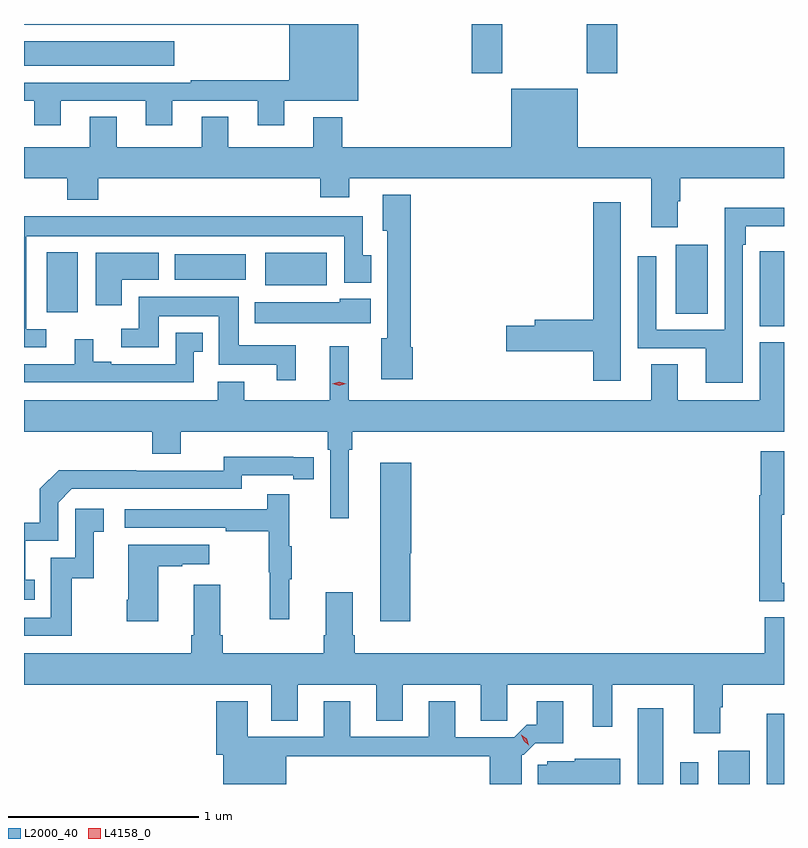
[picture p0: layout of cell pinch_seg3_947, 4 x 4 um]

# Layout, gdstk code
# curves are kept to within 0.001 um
import gdstk
lib = gdstk.Library(unit=1e-6, precision=1e-09)
def R(c, l, rs):  # rectangles x0, y0, x1, y1
    for r in rs: c.add(gdstk.rectangle(r[:2], r[2:], *l))
def P(c, l, *ps):  # polygons
    for p in ps: c.add(gdstk.Polygon(p, *l))
L2000_40 = (2000, 40)
L4158_0 = (4158, 0)

pinch_seg3_947 = lib.new_cell('pinch_seg3_947')
R(pinch_seg3_947, L2000_40, [(410.894,728.365,411.028,728.764), (411.117,728.365,411.213,728.479), (411.317,728.365,411.484,728.539), (411.573,728.365,411.664,728.734), (411.095,730.84,411.262,731.203), (407.783,730.848,407.947,731.164), (408.935,730.991,409.258,731.161), (408.458,731.018,408.832,731.152), (410.021,732.105,410.181,732.365), (410.626,732.105,410.786,732.365), (407.664,732.146,408.454,732.274)])
P(pinch_seg3_947, L2000_40, [(407.857,731.961),(408.305,731.961),(408.305,731.832),(408.445,731.832),(408.445,731.961),(408.893,731.961),(408.893,731.832),(409.033,731.832),(409.033,731.96),(409.423,731.96),(409.423,732.365),(407.664,732.365),(407.664,732.362),(409.061,732.362),(409.061,732.07),(408.541,732.07),(408.541,732.057),(407.664,732.057),(407.664,731.961),(407.717,731.961),(407.717,731.832),(407.857,731.832)],
  [(411.106,731.432),(411.119,731.432),(411.119,731.552),(411.664,731.552),(411.664,731.716),(410.578,731.716),(410.578,732.025),(410.228,732.025),(410.228,731.716),(409.34,731.716),(409.34,731.875),(409.187,731.875),(409.187,731.716),(408.739,731.716),(408.739,731.876),(408.599,731.876),(408.599,731.716),(408.151,731.716),(408.151,731.876),(408.011,731.876),(408.011,731.716),(407.664,731.716),(407.664,731.552),(407.891,731.552),(407.891,731.441),(408.056,731.441),(408.056,731.552),(409.223,731.552),(409.223,731.453),(409.375,731.453),(409.375,731.552),(410.966,731.552),(410.966,731.295),(411.106,731.295)],
  [(409.71,730.665),(409.7,730.665),(409.7,731.467),(409.553,731.467),(409.553,731.277),(409.577,731.277),(409.577,730.71),(409.544,730.71),(409.544,730.496),(409.71,730.496)],
  [(410.806,731.428),(410.66,731.428),(410.66,730.808),(410.351,730.808),(410.351,730.778),(410.202,730.778),(410.202,730.643),(410.66,730.643),(410.66,730.488),(410.806,730.488)],
  [(411.447,731.204),(411.463,731.204),(411.463,731.3),(411.664,731.3),(411.664,731.398),(411.351,731.398),(411.351,730.755),(410.991,730.755),(410.991,731.143),(410.895,731.143),(410.895,730.659),(411.251,730.659),(411.251,730.478),(411.447,730.478)],
  [(407.782,730.758),(407.677,730.758),(407.677,731.249),(409.35,731.249),(409.35,731.004),(409.492,731.004),(409.492,731.148),(409.447,731.148),(409.447,731.353),(407.664,731.353),(407.664,730.665),(407.782,730.665)],
  [(411.664,731.17),(411.537,731.17),(411.537,731.057),(411.536,731.057),(411.536,730.774),(411.664,730.774)],
  [(408.178,731.018),(408.373,731.018),(408.373,731.161),(408.041,731.161),(408.041,730.884),(408.178,730.884)],
  [(409.094,730.675),(408.793,730.675),(408.793,730.93),(408.269,730.93),(408.269,730.761),(408.177,730.761),(408.177,730.665),(408.373,730.665),(408.373,730.826),(408.689,730.826),(408.689,730.571),(408.995,730.571),(408.995,730.491),(409.094,730.491)],
  [(409.489,730.918),(409.326,730.918),(409.326,730.9),(408.878,730.9),(408.878,730.79),(409.489,730.79)],
  [(408.558,730.641),(408.604,730.641),(408.604,730.741),(408.462,730.741),(408.462,730.575),(408.124,730.575),(408.124,730.588),(408.028,730.588),(408.028,730.705),(407.93,730.705),(407.93,730.575),(407.664,730.575),(407.664,730.479),(408.558,730.479)],
  [(409.372,730.124),(409.391,730.124),(409.391,730.22),(411.664,730.22),(411.664,730.689),(411.536,730.689),(411.536,730.384),(411.106,730.384),(411.106,730.574),(410.966,730.574),(410.966,730.384),(409.372,730.384),(409.372,730.669),(409.274,730.669),(409.274,730.384),(408.823,730.384),(408.823,730.483),(408.683,730.483),(408.683,730.384),(407.664,730.384),(407.664,730.22),(408.338,730.22),(408.338,730.103),(408.49,730.103),(408.49,730.22),(409.262,730.22),(409.262,730.124),(409.275,730.124),(409.275,729.765),(409.372,729.765)],
  [(411.664,729.423),(411.651,729.423),(411.651,729.782),(411.664,729.782),(411.664,730.117),(411.542,730.117),(411.542,729.886),(411.535,729.886),(411.535,729.327),(411.664,729.327)],
  [(407.72,729.441),(407.671,729.441),(407.671,729.645),(407.844,729.645),(407.844,729.846),(407.916,729.918),(408.81,729.918),(408.81,729.99),(409.082,729.99),(409.082,729.97),(409.19,729.97),(409.19,730.086),(408.714,730.087),(408.714,730.014),(408.254,730.014),(408.254,730.016),(407.846,730.016),(407.748,729.918),(407.748,729.741),(407.664,729.741),(407.664,729.336),(407.72,729.336)],
  [(409.697,729.579),(409.702,729.579),(409.702,730.057),(409.538,730.057),(409.538,729.222),(409.697,729.222)],
  [(409.061,729.443),(409.072,729.443),(409.072,729.617),(409.061,729.617),(409.061,729.889),(408.943,729.889),(408.943,729.81),(408.195,729.81),(408.195,729.714),(408.727,729.714),(408.727,729.694),(408.951,729.694),(408.951,729.48),(408.958,729.48),(408.958,729.231),(409.061,729.231)],
  [(407.914,729.447),(408.032,729.447),(408.032,729.693),(408.085,729.693),(408.085,729.814),(407.934,729.814),(407.934,729.555),(407.805,729.555),(407.805,729.24),(407.664,729.24),(407.664,729.144),(407.914,729.144)],
  [(408.37,729.511),(408.497,729.511),(408.497,729.521),(408.64,729.521),(408.64,729.625),(408.212,729.625),(408.212,729.334),(408.205,729.334),(408.205,729.222),(408.37,729.222)],
  [(411.328,728.768),(411.341,728.768),(411.341,728.888),(411.664,728.888),(411.664,729.242),(411.563,729.242),(411.563,729.052),(409.406,729.052),(409.406,729.148),(409.393,729.148),(409.393,729.373),(409.253,729.373),(409.253,729.148),(409.241,729.148),(409.241,729.052),(408.71,729.052),(408.71,729.148),(408.697,729.148),(408.697,729.415),(408.557,729.415),(408.557,729.148),(408.545,729.148),(408.545,729.052),(407.664,729.052),(407.664,728.888),(408.965,728.888),(408.965,728.698),(409.105,728.698),(409.105,728.888),(409.517,728.888),(409.517,728.698),(409.657,728.698),(409.657,728.888),(410.069,728.888),(410.069,728.698),(410.208,728.698),(410.208,728.888),(410.657,728.888),(410.657,728.667),(410.761,728.667),(410.761,728.888),(411.188,728.888),(411.188,728.631),(411.328,728.631)],
  [(409.045,728.512),(410.114,728.512),(410.114,728.365),(410.284,728.365),(410.284,728.52),(410.295,728.52),(410.355,728.58),(410.503,728.58),(410.503,728.8),(410.363,728.8),(410.363,728.677),(410.311,728.677),(410.244,728.61),(409.933,728.61),(409.933,728.8),(409.793,728.8),(409.793,728.613),(409.381,728.613),(409.381,728.8),(409.241,728.8),(409.241,728.613),(408.841,728.613),(408.841,728.8),(408.677,728.8),(408.677,728.52),(408.713,728.52),(408.713,728.365),(409.045,728.365)],
  [(410.803,728.497),(410.562,728.497),(410.562,728.485),(410.418,728.485),(410.418,728.466),(410.369,728.466),(410.369,728.365),(410.803,728.365)])
P(pinch_seg3_947, L4158_0, [(410.32,728.57),(410.32,728.57),(410.293,728.592),(410.282,728.625),(410.282,728.625),(410.282,728.625),(410.309,728.603),(410.32,728.57)],
  [(409.323,730.461),(409.287,730.471),(409.287,730.471),(409.287,730.472),(409.323,730.481),(409.359,730.472),(409.359,730.471),(409.359,730.471)])

lib.write_gds('pinch_seg3_947.gds')
